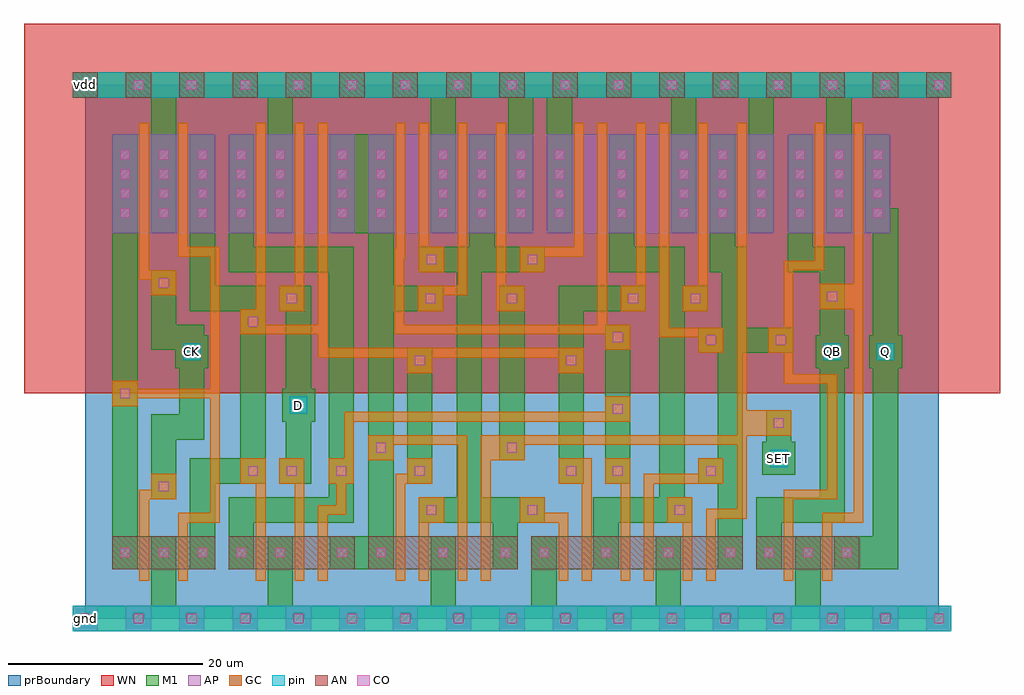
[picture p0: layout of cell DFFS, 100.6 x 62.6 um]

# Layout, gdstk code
import gdstk
lib = gdstk.Library(unit=1e-6, precision=1e-09)
def R(c, l, rs):  # rectangles x0, y0, x1, y1
    for r in rs: c.add(gdstk.rectangle(r[:2], r[2:], *l))
def A(c, l, x, y, w, h, nx, ny, dx, dy):  # array of equal rectangles
    R(c, l, [(x+i*dx, y+j*dy, x+i*dx+w, y+j*dy+h) for i in range(nx) for j in range(ny)])
def P(c, l, *ps):  # polygons
    for p in ps: c.add(gdstk.Polygon(p, *l))
AP = (3, 1)
AN = (3, 2)
GC = (8, 1)
CO = (11, 0)
M1 = (13, 0)
pin = (48, 1)
WN = (140, 0)
prBoundary = (235, 0)

dffs = lib.new_cell('DFFS')
A(dffs, AP, -1.3, -1.3, 2.6, 2.6, 17, 1, 5.5, 0)
R(dffs, AP, [(2.8,39.7,13.4,49.9), (2.8,39.7,13.4,49.9), (14.8,39.7,27.8,49.9), (14.8,39.7,27.8,49.9), (29.2,39.7,46.2,49.9), (29.2,39.7,46.2,49.9), (47.6,39.7,71,49.9), (47.6,39.7,71,49.9), (72.4,39.7,83,49.9), (72.4,39.7,83,49.9)])
A(dffs, AN, -1.3, 53.7, 2.6, 2.6, 17, 1, 5.5, 0)
R(dffs, AN, [(2.8,5.1,13.4,8.5), (14.8,5.1,27.8,8.5), (29.2,5.1,44.6,8.5), (46,5.1,67.8,8.5), (69.2,5.1,79.8,8.5)])
P(dffs, GC, [(34.4,3.9),(34.4,12.5),(37,12.5),(37,9.9),(35.4,9.9),(35.4,3.9)],
  [(48.8,3.9),(48.8,9.9),(44.8,9.9),(44.8,12.5),(47.4,12.5),(47.4,10.9),(49.8,10.9),(49.8,3.9)],
  [(61.6,3.9),(61.6,9.9),(60,9.9),(60,12.5),(62.6,12.5),(62.6,3.9)],
  [(5.6,3.9),(5.6,13.3),(6.8,13.3),(6.8,14.9),(9.4,14.9),(9.4,12.3),(6.6,12.3),(6.6,3.9)],
  [(17.6,3.9),(17.6,13.9),(16,13.9),(16,16.5),(18.6,16.5),(18.6,3.9)],
  [(21.6,3.9),(21.6,13.9),(20,13.9),(20,16.5),(22.6,16.5),(22.6,3.9)],
  [(32,3.9),(32,14.9),(33.2,14.9),(33.2,16.5),(35.8,16.5),(35.8,13.9),(33,13.9),(33,3.9)],
  [(51.2,3.9),(51.2,13.9),(48.8,13.9),(48.8,16.5),(52.2,16.5),(52.2,3.9)],
  [(55.2,3.9),(55.2,13.9),(53.6,13.9),(53.6,16.5),(56.2,16.5),(56.2,3.9)],
  [(57.6,3.9),(57.6,14.9),(63.2,14.9),(63.2,16.5),(65.8,16.5),(65.8,13.9),(58.6,13.9),(58.6,3.9)],
  [(38.4,3.9),(38.4,17.9),(31.8,17.9),(31.8,16.3),(29.2,16.3),(29.2,18.9),(39.4,18.9),(39.4,3.9)],
  [(24,3.9),(24,11.7),(25.9,11.7),(25.9,13.9),(25.1,13.9),(25.1,16.5),(26.7,16.5),(26.7,21.3),(53.6,21.3),(53.6,22.9),(56.2,22.9),(56.2,20.3),(27.7,20.3),(27.7,13.9),(26.9,13.9),(26.9,10.7),(25,10.7),(25,3.9)],
  [(6.8,33.3),(6.8,34.9),(5.6,34.9),(5.6,51.1),(6.6,51.1),(6.6,35.9),(9.4,35.9),(9.4,33.3)],
  [(9.6,3.9),(9.6,10.9),(12.9,10.9),(12.9,22.7),(5.4,22.7),(5.4,21.9),(2.8,21.9),(2.8,24.5),(5.4,24.5),(5.4,23.7),(12.9,23.7),(12.9,37.3),(9.6,37.3),(9.6,51.1),(10.6,51.1),(10.6,38.3),(13.9,38.3),(13.9,9.9),(10.6,9.9),(10.6,3.9)],
  [(20,31.7),(20,34.3),(21.6,34.3),(21.6,51.1),(22.6,51.1),(22.6,31.7)],
  [(33.2,25.3),(33.2,26.9),(24,26.9),(24,29.3),(16,29.3),(16,31.9),(17.6,31.9),(17.6,51.1),(18.6,51.1),(18.6,30.3),(24,30.3),(24,51.1),(25,51.1),(25,27.9),(51.4,27.9),(51.4,25.3),(48.8,25.3),(48.8,26.9),(35.8,26.9),(35.8,25.3)],
  [(34.4,35.7),(34.4,51.1),(35.4,51.1),(35.4,38.3),(37,38.3),(37,35.7)],
  [(34.3,31.7),(34.3,34.3),(38.4,34.3),(38.4,51.1),(39.4,51.1),(39.4,33.3),(36.9,33.3),(36.9,31.7)],
  [(42.4,31.7),(42.4,51.1),(43.4,51.1),(43.4,34.3),(45.3,34.3),(45.3,31.7)],
  [(44.8,35.7),(44.8,38.3),(50.4,38.3),(50.4,51.1),(51.4,51.1),(51.4,37.3),(47.4,37.3),(47.4,35.7)],
  [(53.6,27.7),(53.6,29.3),(31.9,29.3),(31.9,38.1),(32,38.1),(32,51.1),(33,51.1),(33,37.1),(32.9,37.1),(32.9,30.3),(52.8,30.3),(52.8,51.1),(53.8,51.1),(53.8,30.3),(56.2,30.3),(56.2,27.7)],
  [(55.2,31.7),(55.2,34.3),(56.8,34.3),(56.8,51.1),(57.8,51.1),(57.8,31.7)],
  [(63.2,27.4),(63.2,29),(59.2,29),(59.2,51.1),(60.2,51.1),(60.2,30),(65.8,30),(65.8,27.4)],
  [(61.6,31.7),(61.6,34.3),(63.2,34.3),(63.2,51.1),(64.2,51.1),(64.2,31.7)],
  [(40.8,3.9),(40.8,18.9),(67.2,18.9),(67.2,51.1),(68.2,51.1),(68.2,21.45),(72.8,21.45),(72.8,18.85),(68.2,18.85),(68.2,10.3),(65,10.3),(65,3.9),(64,3.9),(64,11.3),(67.2,11.3),(67.2,17.9),(45.3,17.9),(45.3,16.3),(41.8,16.3),(41.8,3.9)],
  [(72,3.9),(72,13.3),(76.5,13.3),(76.5,24.2),(72,24.2),(72,27.4),(70.4,27.4),(70.4,30),(72,30),(72,36.9),(75.2,36.9),(75.2,51.1),(76.2,51.1),(76.2,35.9),(73,35.9),(73,25.2),(77.5,25.2),(77.5,12.3),(73,12.3),(73,3.9)],
  [(76,3.9),(76,10.9),(79.2,10.9),(79.2,31.9),(75.7,31.9),(75.7,34.5),(79.2,34.5),(79.2,51.1),(80.2,51.1),(80.2,9.9),(77,9.9),(77,3.9)])
A(dffs, CO, -0.5, -0.5, 1, 1, 17, 2, 5.5, 55)
A(dffs, CO, 7.6, 6.3, 1, 1, 4, 2, 4, 35)
A(dffs, CO, 66, 6.3, 1, 1, 3, 1, 4, 0)
A(dffs, CO, 3.6, 41.3, 1, 1, 1, 4, 0, 2)
A(dffs, CO, 7.6, 41.3, 1, 1, 1, 4, 0, 2)
A(dffs, CO, 19.6, 41.3, 1, 1, 1, 4, 0, 2)
A(dffs, CO, 26, 41.3, 1, 1, 1, 4, 0, 2)
A(dffs, CO, 30, 41.3, 1, 1, 1, 4, 0, 2)
A(dffs, CO, 40.4, 41.3, 1, 1, 1, 4, 0, 2)
A(dffs, CO, 40.4, 41.3, 1, 1, 3, 4, 4, 2)
A(dffs, CO, 65.2, 41.3, 1, 1, 1, 4, 0, 2)
A(dffs, CO, 65.2, 41.3, 1, 1, 4, 4, 4, 2)
A(dffs, CO, 77.2, 41.3, 1, 1, 1, 4, 0, 2)
A(dffs, CO, 81.2, 41.3, 1, 1, 1, 4, 0, 2)
A(dffs, CO, 7.6, 43.3, 1, 1, 4, 3, 4, 2)
R(dffs, CO, [(3.6,6.3,4.6,7.3), (7.6,6.3,8.6,7.3), (19.6,6.3,20.6,7.3), (26,6.3,27,7.3), (30,6.3,31,7.3), (36.4,6.3,37.4,7.3), (36.4,6.3,37.4,7.3), (42.8,6.3,43.8,7.3), (46.8,6.3,47.8,7.3), (53.2,6.3,54.2,7.3), (53.2,6.3,54.2,7.3), (59.6,6.3,60.6,7.3), (59.6,6.3,60.6,7.3), (74,6.3,75,7.3), (78,6.3,79,7.3), (35.2,10.7,36.2,11.7), (45.6,10.7,46.6,11.7), (60.8,10.7,61.8,11.7), (7.6,13.1,8.6,14.1), (16.8,14.7,17.8,15.7), (20.8,14.7,21.8,15.7), (25.9,14.7,26.9,15.7), (34,14.7,35,15.7), (49.6,14.7,50.6,15.7), (54.4,14.7,55.4,15.7), (64,14.7,65,15.7), (30,17.1,31,18.1), (43.5,17.1,44.5,18.1), (71,19.65,72,20.65), (54.4,21.1,55.4,22.1), (3.6,22.7,4.6,23.7), (34,26.1,35,27.1), (49.6,26.1,50.6,27.1), (64,28.2,65,29.2), (71.2,28.2,72.2,29.2), (54.4,28.5,55.4,29.5), (16.8,30.1,17.8,31.1), (20.8,32.5,21.8,33.5), (35.1,32.5,36.1,33.5), (43.5,32.5,44.5,33.5), (56,32.5,57,33.5), (62.4,32.5,63.4,33.5), (76.5,32.7,77.5,33.7), (7.6,34.1,8.6,35.1), (35.2,36.5,36.2,37.5), (45.6,36.5,46.6,37.5), (36.4,41.3,37.4,42.3), (36.4,41.3,37.4,42.3), (54.8,41.3,55.8,42.3), (54.8,41.3,55.8,42.3), (61.2,41.3,62.2,42.3), (61.2,41.3,62.2,42.3), (36.4,43.3,37.4,44.3), (36.4,43.3,37.4,44.3), (54.8,43.3,55.8,44.3), (54.8,43.3,55.8,44.3), (61.2,43.3,62.2,44.3), (61.2,43.3,62.2,44.3), (36.4,45.3,37.4,46.3), (36.4,45.3,37.4,46.3), (54.8,45.3,55.8,46.3), (54.8,45.3,55.8,46.3), (61.2,45.3,62.2,46.3), (61.2,45.3,62.2,46.3), (36.4,47.3,37.4,48.3), (36.4,47.3,37.4,48.3), (54.8,47.3,55.8,48.3), (54.8,47.3,55.8,48.3), (61.2,47.3,62.2,48.3), (61.2,47.3,62.2,48.3)])
R(dffs, M1, [(2.8,5.1,5.4,49.9), (33.2,13.9,35.8,27.9), (53.6,13.9,56.2,30.3), (42.7,16.3,45.3,34.3)])
P(dffs, M1, [(65.2,5.1),(65.2,13.9),(63.2,13.9),(63.2,16.5),(65.2,16.5),(65.2,27.4),(63.2,27.4),(63.2,30),(65.6,30),(65.6,35.7),(64.4,35.7),(64.4,49.9),(67,49.9),(67,38.3),(68.2,38.3),(68.2,30),(73,30),(73,27.4),(67.8,27.4),(67.8,5.1)],
  [(-1.3,-1.3),(-1.3,1.3),(6.8,1.3),(6.8,8.5),(9.4,8.5),(9.4,1.3),(18.8,1.3),(18.8,8.5),(21.4,8.5),(21.4,1.3),(35.6,1.3),(35.6,8.5),(38.2,8.5),(38.2,1.3),(46,1.3),(46,8.5),(48.6,8.5),(48.6,1.3),(58.8,1.3),(58.8,8.5),(61.4,8.5),(61.4,1.3),(73.2,1.3),(73.2,8.5),(75.8,8.5),(75.8,1.3),(89.3,1.3),(89.3,-1.3)],
  [(69.8,14.8),(69.8,18.2),(70.2,18.2),(70.2,21.45),(72.8,21.45),(72.8,18.2),(73.2,18.2),(73.2,14.8)],
  [(20,13.9),(20,16.5),(20.7,16.5),(20.7,20.3),(20.3,20.3),(20.3,23.7),(20.7,23.7),(20.7,31.7),(20,31.7),(20,34.3),(23.3,34.3),(23.3,23.7),(23.7,23.7),(23.7,20.3),(23.3,20.3),(23.3,13.9)],
  [(48.8,13.9),(48.8,34.3),(57.8,34.3),(57.8,31.7),(51.4,31.7),(51.4,13.9)],
  [(6.8,12.3),(6.8,21.05),(9.7,21.05),(9.7,25.8),(9.3,25.8),(9.3,27.7),(6.8,27.7),(6.8,35.9),(9.4,35.9),(9.4,30.3),(12.3,30.3),(12.3,29.2),(12.7,29.2),(12.7,25.8),(12.3,25.8),(12.3,18.45),(9.4,18.45),(9.4,12.3)],
  [(10.8,5.1),(10.8,16.5),(16,16.5),(16,31.7),(10.8,31.7),(10.8,49.9),(13.4,49.9),(13.4,34.3),(18.6,34.3),(18.6,13.9),(13.4,13.9),(13.4,5.1)],
  [(14.8,5.1),(14.8,12.5),(25.1,12.5),(25.1,35.7),(14.8,35.7),(14.8,49.9),(17.4,49.9),(17.4,38.3),(27.7,38.3),(27.7,9.9),(17.4,9.9),(17.4,5.1)],
  [(25.2,5.1),(25.2,8.5),(29.2,8.5),(29.2,39.7),(25.2,39.7),(25.2,49.9),(31.8,49.9),(31.8,34.3),(36.9,34.3),(36.9,31.7),(31.8,31.7),(31.8,5.1)],
  [(42,5.1),(42,9.9),(34.4,9.9),(34.4,12.5),(38.3,12.5),(38.3,35.7),(34.4,35.7),(34.4,38.3),(39.6,38.3),(39.6,49.9),(42.2,49.9),(42.2,38.3),(47.4,38.3),(47.4,35.7),(40.9,35.7),(40.9,12.5),(47.4,12.5),(47.4,9.9),(44.6,9.9),(44.6,5.1)],
  [(52.4,5.1),(52.4,12.5),(59.2,12.5),(59.2,35.7),(54,35.7),(54,49.9),(56.6,49.9),(56.6,38.3),(61.8,38.3),(61.8,34.3),(64.2,34.3),(64.2,31.7),(61.8,31.7),(61.8,12.5),(62.6,12.5),(62.6,9.9),(55,9.9),(55,5.1)],
  [(69.2,5.1),(69.2,12.5),(75.7,12.5),(75.7,25.8),(75.3,25.8),(75.3,29.2),(75.7,29.2),(75.7,35.7),(72.4,35.7),(72.4,49.9),(75,49.9),(75,38.3),(78.3,38.3),(78.3,29.2),(78.7,29.2),(78.7,25.8),(78.3,25.8),(78.3,9.9),(71.8,9.9),(71.8,5.1)],
  [(77.2,5.1),(77.2,8.5),(81.2,8.5),(81.2,25.8),(80.8,25.8),(80.8,29.2),(81.2,29.2),(81.2,39.7),(80.4,39.7),(80.4,49.9),(83,49.9),(83,42.3),(83.8,42.3),(83.8,29.2),(84.2,29.2),(84.2,25.8),(83.8,25.8),(83.8,5.1)],
  [(6.8,39.7),(6.8,53.7),(-1.3,53.7),(-1.3,56.3),(89.3,56.3),(89.3,53.7),(79,53.7),(79,39.7),(76.4,39.7),(76.4,53.7),(71,53.7),(71,39.7),(68.4,39.7),(68.4,53.7),(63,53.7),(63,39.7),(60.4,39.7),(60.4,53.7),(50.2,53.7),(50.2,39.7),(47.6,39.7),(47.6,53.7),(46.2,53.7),(46.2,39.7),(43.6,39.7),(43.6,53.7),(38.2,53.7),(38.2,39.7),(35.6,39.7),(35.6,53.7),(21.4,53.7),(21.4,39.7),(18.8,39.7),(18.8,53.7),(9.4,53.7),(9.4,39.7)])
R(dffs, pin, [(-1.3,-1.3,89.3,1.3), (70.6,15.6,72.4,17.4), (21.1,21.1,22.9,22.9), (10.1,26.6,11.9,28.4), (76.1,26.6,77.9,28.4), (81.6,26.6,83.4,28.4), (-1.3,53.7,89.3,56.3)])
R(dffs, WN, [(-6.3,23.2,94.3,61.3)])
R(dffs, prBoundary, [(0,0,88,55)])
dffs.add(gdstk.Label('SET', (71.5,16.5), layer=48, texttype=0))
dffs.add(gdstk.Label('D', (22,22), layer=48, texttype=0))
dffs.add(gdstk.Label('Q', (82.5,27.5), layer=48, texttype=0))
dffs.add(gdstk.Label('QB', (77,27.5), layer=48, texttype=0))
dffs.add(gdstk.Label('CK', (11,27.5), layer=48, texttype=0))
dffs.add(gdstk.Label('gnd', (0,0), layer=48, texttype=0))
dffs.add(gdstk.Label('vdd', (0,55), layer=48, texttype=0))

lib.write_gds('DFFS.gds')
